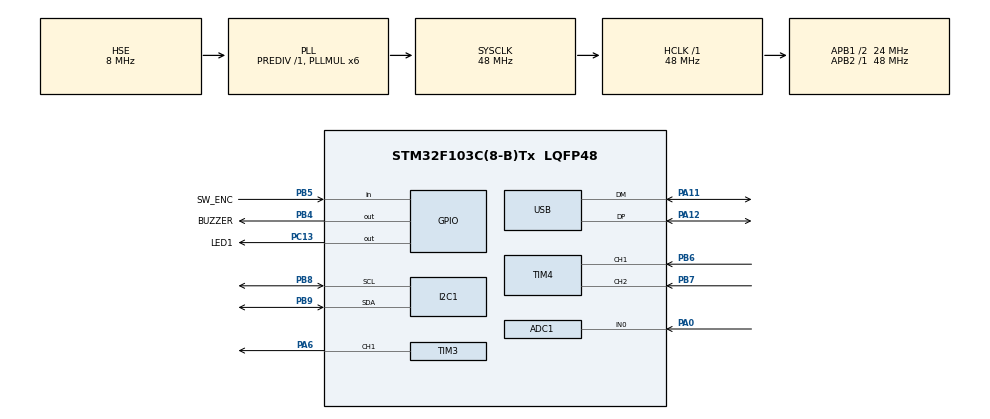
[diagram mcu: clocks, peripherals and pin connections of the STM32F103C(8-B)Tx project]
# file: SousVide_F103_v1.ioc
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ADC1.Channel-0\#ChannelRegularConversion=ADC_CHANNEL_0
ADC1.ContinuousConvMode=ENABLE
ADC1.NbrOfConversionFlag=1
ADC1.Rank-0\#ChannelRegularConversion=1
ADC1.SamplingTime-0\#ChannelRegularConversion=ADC_SAMPLETIME_1CYCLE_5
ADC1.master=1
I2C1.I2C_Mode=I2C_Fast
Mcu.Family=STM32F1
Mcu.Name=STM32F103C(8-B)Tx
Mcu.Package=LQFP48
NVIC.PriorityGroup=NVIC_PRIORITYGROUP_4
NVIC.TIM1_UP_IRQn=true\:0\:0\:false\:false\:true\:true\:true
NVIC.USB_LP_CAN1_RX0_IRQn=true\:0\:0\:false\:false\:true\:false\:true
PA0-WKUP.Signal=ADCx_IN0
PA11.Mode=Device
PA11.Signal=USB_DM
PA12.Mode=Device
PA12.Signal=USB_DP
PA13.Mode=Serial_Wire
PA13.Signal=SYS_JTMS-SWDIO
PA14.Mode=Serial_Wire
PA14.Signal=SYS_JTCK-SWCLK
PA6.Signal=S_TIM3_CH1
PB4.GPIO_Label=BUZZER
PB4.Signal=GPIO_Output
PB5.GPIO_Label=SW_ENC
PB5.Signal=GPIO_Input
PB6.Signal=S_TIM4_CH1
PB7.Signal=S_TIM4_CH2
PB8.Mode=I2C
PB8.Signal=I2C1_SCL
PB9.Mode=I2C
PB9.Signal=I2C1_SDA
PC13-TAMPER-RTC.GPIO_Label=LED1
PC13-TAMPER-RTC.Signal=GPIO_Output
PC14-OSC32_IN.Mode=LSE-External-Oscillator
PC14-OSC32_IN.Signal=RCC_OSC32_IN
PC15-OSC32_OUT.Mode=LSE-External-Oscillator
PC15-OSC32_OUT.Signal=RCC_OSC32_OUT
PD0-OSC_IN.Mode=HSE-External-Oscillator
PD0-OSC_IN.Signal=RCC_OSC_IN
PD1-OSC_OUT.Mode=HSE-External-Oscillator
PD1-OSC_OUT.Signal=RCC_OSC_OUT
ProjectManager.HeapSize=0x200
ProjectManager.StackSize=0x400
ProjectManager.TargetToolchain=MDK-ARM V5
RCC.ADCPresc=RCC_ADCPCLK2_DIV4
RCC.AHBFreq_Value=48000000
RCC.APB1CLKDivider=RCC_HCLK_DIV2
RCC.APB1Freq_Value=24000000
RCC.APB1TimFreq_Value=48000000
RCC.APB2Freq_Value=48000000
RCC.APB2TimFreq_Value=48000000
RCC.HCLKFreq_Value=48000000
RCC.PLLMUL=RCC_PLL_MUL6
RCC.SYSCLKFreq_VALUE=48000000
RCC.SYSCLKSource=RCC_SYSCLKSOURCE_PLLCLK
RCC.USBFreq_Value=48000000
SH.ADCx_IN0.0=ADC1_IN0,IN0
SH.S_TIM3_CH1.0=TIM3_CH1,PWM Generation1 CH1
SH.S_TIM4_CH1.0=TIM4_CH1,Encoder_Interface
SH.S_TIM4_CH2.0=TIM4_CH2,Encoder_Interface
TIM1.Period=10000-1
TIM1.Prescaler=4800-1
TIM2.Period=0xffff-1
TIM2.Prescaler=48-1
TIM3.Channel-PWM\ Generation1\ CH1=TIM_CHANNEL_1
TIM3.Period=100-1
TIM3.Prescaler=4800-1
TIM4.EncoderMode=TIM_ENCODERMODE_TI12
TIM4.IC1Filter=15
TIM4.IC2Filter=15
USB_DEVICE.CLASS_NAME_FS=CDC
USB_DEVICE.VirtualMode=Cdc
USB_DEVICE.VirtualModeFS=Cdc_FS
VP_TIM1_VS_ClockSourceINT.Mode=Internal
VP_TIM2_VS_ClockSourceINT.Mode=Internal
VP_USB_DEVICE_VS_USB_DEVICE_CDC_FS.Mode=CDC_FS
board=custom

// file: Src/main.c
/* USER CODE BEGIN Header */
/**
  ******************************************************************************
  * @file           : main.c
  * @brief          : Main program body
  ******************************************************************************
  * @attention
  *
  * <h2><center>&copy; Copyright (c) 2020 STMicroelectronics.
  * All rights reserved.</center></h2>
  *
  * This software component is licensed by ST under Ultimate Liberty license
  * SLA0044, the "License"; You may not use this file except in compliance with
  * the License. You may obtain a copy of the License at:
  *                             www.st.com/SLA0044
  *
  ******************************************************************************
  */
/* USER CODE END Header */
#include "main.h"
#include "usb_device.h"

/* USER CODE BEGIN Includes */

#include "fonts.h"
#include "ssd1306.h"
#include "test.h"
#include "string.h"
#include "stdio.h"
#include "stdlib.h"
#include "usbd_cdc_if.h"

/* USER CODE END Includes */

/* USER CODE BEGIN PD */

//#define USE_PID
//#define USE_FILTER

#ifdef USE_PID
#define Kp 1.0
#define Ki 1.0
#define Kd 1.0
#define SAMPLE_TIME 1
#endif

#define DS18B20_PORT GPIOA
#define DS18B20_PIN GPIO_PIN_1

//#define DEBUG

/* USER CODE END PD */

/* USER CODE BEGIN PM */

#define LED_ON HAL_GPIO_WritePin(LED1_GPIO_Port, LED1_Pin, GPIO_PIN_RESET)
#define LED_OFF HAL_GPIO_WritePin(LED1_GPIO_Port, LED1_Pin, GPIO_PIN_SET)

#define BEEP_ON HAL_GPIO_WritePin(BUZZER_GPIO_Port, BUZZER_Pin, GPIO_PIN_SET)
#define BEEP_OFF HAL_GPIO_WritePin(BUZZER_GPIO_Port, BUZZER_Pin, GPIO_PIN_RESET)

/* USER CODE END PM */

ADC_HandleTypeDef hadc1;

I2C_HandleTypeDef hi2c1;

TIM_HandleTypeDef htim1;
TIM_HandleTypeDef htim2;
TIM_HandleTypeDef htim3;
TIM_HandleTypeDef htim4;

/* USER CODE BEGIN PV */
int TEMPOOO;
int SECOND_TIMER;

int SECOND, MINUTE, HOUR;
int SET_SECOND, SET_MINUTE, SET_HOUR;
int TOTAL_SET_SECOND;
int TOTAL_SET_SECOND_COUNTDOWN;

unsigned int SETPOINT_TEMPERAURE;

float TEMPERATURE,
			LAST_TEMPERATURE,
			TEMPERATURE_RAW,
			FILTER_FACTOR = 5,
			Ts = 1.0f,
			TEMPERATURE_OFFSET = 0.2f;

float ERROR_MEASURED;
float PROPORTIONAL;
float INTEGRATOR;
float DERIVATIVE;
float PID;

int BLYNK_OLED;

int encoderCount, encoderDirection;
int SW_ALREADY_PRESSED;

char strbuffer[64];

int liga = 0;

/* USER CODE END PV */

void SystemClock_Config(void);
static void MX_GPIO_Init(void);
static void MX_ADC1_Init(void);
static void MX_TIM4_Init(void);
static void MX_I2C1_Init(void);
static void MX_TIM3_Init(void);
static void MX_TIM1_Init(void);
static void MX_TIM2_Init(void);
/* USER CODE BEGIN PFP */

float Temp_Read(void);
void heat_function(void);
void cook_function(void);
void delay_us (uint16_t us);
void Set_Pin_Output (GPIO_TypeDef *GPIOx, uint16_t GPIO_Pin);
void Set_Pin_Input (GPIO_TypeDef *GPIOx, uint16_t GPIO_Pin);
uint8_t DS18B20_Start (void);
void DS18B20_Write (uint8_t data);
uint8_t DS18B20_Read (void);
void beep(int delay);

extern uint8_t CDC_Transmit_FS(uint8_t* Buf, uint16_t Len);

/* USER CODE END PFP */

int main(void)
{

  /* MCU Configuration--------------------------------------------------------*/

  /* Reset of all peripherals, Initializes the Flash interface and the Systick. */
  HAL_Init();

  /* Configure the system clock */
  SystemClock_Config();

  /* Initialize all configured peripherals */
  MX_GPIO_Init();
  MX_ADC1_Init();
  MX_TIM4_Init();
  MX_USB_DEVICE_Init();
  MX_I2C1_Init();
  MX_TIM3_Init();
  MX_TIM1_Init();
  MX_TIM2_Init();
  /* USER CODE BEGIN 2 */

	HAL_Delay(1000);

	char strBuffer[] = "Ola\n\r";
	CDC_Transmit_FS((uint8_t*)strBuffer, strlen(strBuffer));

	SSD1306_Init();  // initialise
	SSD1306_Clear();

	beep(200);

	SSD1306_GotoXY (2,0);
  SSD1306_Puts("Sous", &Font_16x26, 1);
  SSD1306_GotoXY (60, 30);
  SSD1306_Puts("Vide", &Font_16x26, 1);
  SSD1306_UpdateScreen(); //display

	HAL_TIM_Encoder_Start(&htim4, TIM_CHANNEL_ALL);
	__HAL_TIM_SET_AUTORELOAD(&htim4, 4*2);

	HAL_TIM_PWM_Start(&htim3, TIM_CHANNEL_1);
	__HAL_TIM_SET_COMPARE(&htim3, TIM_CHANNEL_1, 0);

	LED_ON;
	HAL_Delay(2000);
	SSD1306_Clear();

	HAL_TIM_Base_Start(&htim2);

	LED_OFF;

  /* USER CODE END 2 */

  /* Infinite loop */
  /* USER CODE BEGIN WHILE */
  while (1)
  {
		encoderCount = __HAL_TIM_GET_COUNTER(&htim4) / 4;
		SSD1306_GotoXY (22,0);
		SSD1306_Puts("Aquecer", &Font_11x18, 1);
		SSD1306_GotoXY (22,30);
		SSD1306_Puts("Cozinhar", &Font_11x18, 1);

		char strBuffer[] = "Ola\n\r";
		CDC_Transmit_FS((uint8_t*)strBuffer, strlen(strBuffer));

		if(encoderCount == 1)
		{
			SSD1306_GotoXY (0,0);
			SSD1306_Puts("->", &Font_11x18, 1);
			SSD1306_GotoXY (0,30);
			SSD1306_Puts("  ", &Font_11x18, 1);
		}

		if(encoderCount == 0)
		{
			SSD1306_GotoXY (0,30);
			SSD1306_Puts("->", &Font_11x18, 1);
			SSD1306_GotoXY (0,0);
			SSD1306_Puts("  ", &Font_11x18, 1);
		}
		SSD1306_UpdateScreen();

		if((HAL_GPIO_ReadPin(SW_ENC_GPIO_Port, SW_ENC_Pin) == 1) && (SW_ALREADY_PRESSED == 1))
				SW_ALREADY_PRESSED = 0;

		if((HAL_GPIO_ReadPin(SW_ENC_GPIO_Port, SW_ENC_Pin) == 0) && (SW_ALREADY_PRESSED == 0))
			{
				HAL_Delay(100);
				if((HAL_GPIO_ReadPin(SW_ENC_GPIO_Port, SW_ENC_Pin) == 0) && (SW_ALREADY_PRESSED == 0))
				{
					SW_ALREADY_PRESSED = 1;
					beep(200);
					if(encoderCount == 1)
					{
						SSD1306_Clear();
						heat_function();
						__HAL_TIM_SET_COUNTER(&htim4, 0);
					}
					else
					{
						SSD1306_Clear();
						cook_function();
						__HAL_TIM_SET_COUNTER(&htim4, 0);
					}
				}
			}

    /* USER CODE END WHILE */

  }
}

void SystemClock_Config(void)
{
  RCC_OscInitTypeDef RCC_OscInitStruct = {0};
  RCC_ClkInitTypeDef RCC_ClkInitStruct = {0};
  RCC_PeriphCLKInitTypeDef PeriphClkInit = {0};

  /** Initializes the RCC Oscillators according to the specified parameters
  * in the RCC_OscInitTypeDef structure.
  */
  RCC_OscInitStruct.OscillatorType = RCC_OSCILLATORTYPE_HSE;
  RCC_OscInitStruct.HSEState = RCC_HSE_ON;
  RCC_OscInitStruct.HSEPredivValue = RCC_HSE_PREDIV_DIV1;
  RCC_OscInitStruct.HSIState = RCC_HSI_ON;
  RCC_OscInitStruct.PLL.PLLState = RCC_PLL_ON;
  RCC_OscInitStruct.PLL.PLLSource = RCC_PLLSOURCE_HSE;
  RCC_OscInitStruct.PLL.PLLMUL = RCC_PLL_MUL6;
  if (HAL_RCC_OscConfig(&RCC_OscInitStruct) != HAL_OK)
  {
    Error_Handler();
  }
  /** Initializes the CPU, AHB and APB buses clocks
  */
  RCC_ClkInitStruct.ClockType = RCC_CLOCKTYPE_HCLK|RCC_CLOCKTYPE_SYSCLK
                              |RCC_CLOCKTYPE_PCLK1|RCC_CLOCKTYPE_PCLK2;
  RCC_ClkInitStruct.SYSCLKSource = RCC_SYSCLKSOURCE_PLLCLK;
  RCC_ClkInitStruct.AHBCLKDivider = RCC_SYSCLK_DIV1;
  RCC_ClkInitStruct.APB1CLKDivider = RCC_HCLK_DIV2;
  RCC_ClkInitStruct.APB2CLKDivider = RCC_HCLK_DIV1;

  if (HAL_RCC_ClockConfig(&RCC_ClkInitStruct, FLASH_LATENCY_1) != HAL_OK)
  {
    Error_Handler();
  }
  PeriphClkInit.PeriphClockSelection = RCC_PERIPHCLK_ADC|RCC_PERIPHCLK_USB;
  PeriphClkInit.AdcClockSelection = RCC_ADCPCLK2_DIV4;
  PeriphClkInit.UsbClockSelection = RCC_USBCLKSOURCE_PLL;
  if (HAL_RCCEx_PeriphCLKConfig(&PeriphClkInit) != HAL_OK)
  {
    Error_Handler();
  }
}

static void MX_ADC1_Init(void)
{

  ADC_ChannelConfTypeDef sConfig = {0};

  /** Common config
  */
  hadc1.Instance = ADC1;
  hadc1.Init.ScanConvMode = ADC_SCAN_DISABLE;
  hadc1.Init.ContinuousConvMode = ENABLE;
  hadc1.Init.DiscontinuousConvMode = DISABLE;
  hadc1.Init.ExternalTrigConv = ADC_SOFTWARE_START;
  hadc1.Init.DataAlign = ADC_DATAALIGN_RIGHT;
  hadc1.Init.NbrOfConversion = 1;
  if (HAL_ADC_Init(&hadc1) != HAL_OK)
  {
    Error_Handler();
  }
  /** Configure Regular Channel
  */
  sConfig.Channel = ADC_CHANNEL_0;
  sConfig.Rank = ADC_REGULAR_RANK_1;
  sConfig.SamplingTime = ADC_SAMPLETIME_1CYCLE_5;
  if (HAL_ADC_ConfigChannel(&hadc1, &sConfig) != HAL_OK)
  {
    Error_Handler();
  }

}

static void MX_I2C1_Init(void)
{

  hi2c1.Instance = I2C1;
  hi2c1.Init.ClockSpeed = 400000;
  hi2c1.Init.DutyCycle = I2C_DUTYCYCLE_2;
  hi2c1.Init.OwnAddress1 = 0;
  hi2c1.Init.AddressingMode = I2C_ADDRESSINGMODE_7BIT;
  hi2c1.Init.DualAddressMode = I2C_DUALADDRESS_DISABLE;
  hi2c1.Init.OwnAddress2 = 0;
  hi2c1.Init.GeneralCallMode = I2C_GENERALCALL_DISABLE;
  hi2c1.Init.NoStretchMode = I2C_NOSTRETCH_DISABLE;
  if (HAL_I2C_Init(&hi2c1) != HAL_OK)
  {
    Error_Handler();
  }

}

static void MX_TIM1_Init(void)
{

  TIM_ClockConfigTypeDef sClockSourceConfig = {0};
  TIM_MasterConfigTypeDef sMasterConfig = {0};

  htim1.Instance = TIM1;
  htim1.Init.Prescaler = 4800-1;
  htim1.Init.CounterMode = TIM_COUNTERMODE_UP;
  htim1.Init.Period = 10000-1;
  htim1.Init.ClockDivision = TIM_CLOCKDIVISION_DIV1;
  htim1.Init.RepetitionCounter = 0;
  htim1.Init.AutoReloadPreload = TIM_AUTORELOAD_PRELOAD_DISABLE;
  if (HAL_TIM_Base_Init(&htim1) != HAL_OK)
  {
    Error_Handler();
  }
  sClockSourceConfig.ClockSource = TIM_CLOCKSOURCE_INTERNAL;
  if (HAL_TIM_ConfigClockSource(&htim1, &sClockSourceConfig) != HAL_OK)
  {
    Error_Handler();
  }
  sMasterConfig.MasterOutputTrigger = TIM_TRGO_RESET;
  sMasterConfig.MasterSlaveMode = TIM_MASTERSLAVEMODE_DISABLE;
  if (HAL_TIMEx_MasterConfigSynchronization(&htim1, &sMasterConfig) != HAL_OK)
  {
    Error_Handler();
  }

}

static void MX_TIM2_Init(void)
{

  TIM_ClockConfigTypeDef sClockSourceConfig = {0};
  TIM_MasterConfigTypeDef sMasterConfig = {0};

  htim2.Instance = TIM2;
  htim2.Init.Prescaler = 48-1;
  htim2.Init.CounterMode = TIM_COUNTERMODE_UP;
  htim2.Init.Period = 0xffff-1;
  htim2.Init.ClockDivision = TIM_CLOCKDIVISION_DIV1;
  htim2.Init.AutoReloadPreload = TIM_AUTORELOAD_PRELOAD_DISABLE;
  if (HAL_TIM_Base_Init(&htim2) != HAL_OK)
  {
    Error_Handler();
  }
  sClockSourceConfig.ClockSource = TIM_CLOCKSOURCE_INTERNAL;
  if (HAL_TIM_ConfigClockSource(&htim2, &sClockSourceConfig) != HAL_OK)
  {
    Error_Handler();
  }
  sMasterConfig.MasterOutputTrigger = TIM_TRGO_RESET;
  sMasterConfig.MasterSlaveMode = TIM_MASTERSLAVEMODE_DISABLE;
  if (HAL_TIMEx_MasterConfigSynchronization(&htim2, &sMasterConfig) != HAL_OK)
  {
    Error_Handler();
  }

}

static void MX_TIM3_Init(void)
{

  TIM_MasterConfigTypeDef sMasterConfig = {0};
  TIM_OC_InitTypeDef sConfigOC = {0};

  htim3.Instance = TIM3;
  htim3.Init.Prescaler = 4800-1;
  htim3.Init.CounterMode = TIM_COUNTERMODE_UP;
  htim3.Init.Period = 100-1;
  htim3.Init.ClockDivision = TIM_CLOCKDIVISION_DIV1;
  htim3.Init.AutoReloadPreload = TIM_AUTORELOAD_PRELOAD_DISABLE;
  if (HAL_TIM_PWM_Init(&htim3) != HAL_OK)
  {
    Error_Handler();
  }
  sMasterConfig.MasterOutputTrigger = TIM_TRGO_RESET;
  sMasterConfig.MasterSlaveMode = TIM_MASTERSLAVEMODE_DISABLE;
  if (HAL_TIMEx_MasterConfigSynchronization(&htim3, &sMasterConfig) != HAL_OK)
  {
    Error_Handler();
  }
  sConfigOC.OCMode = TIM_OCMODE_PWM1;
  sConfigOC.Pulse = 0;
  sConfigOC.OCPolarity = TIM_OCPOLARITY_HIGH;
  sConfigOC.OCFastMode = TIM_OCFAST_DISABLE;
  if (HAL_TIM_PWM_ConfigChannel(&htim3, &sConfigOC, TIM_CHANNEL_1) != HAL_OK)
  {
    Error_Handler();
  }
  HAL_TIM_MspPostInit(&htim3);

}

static void MX_TIM4_Init(void)
{

  TIM_Encoder_InitTypeDef sConfig = {0};
  TIM_MasterConfigTypeDef sMasterConfig = {0};

  htim4.Instance = TIM4;
  htim4.Init.Prescaler = 0;
  htim4.Init.CounterMode = TIM_COUNTERMODE_UP;
  htim4.Init.Period = 65535;
  htim4.Init.ClockDivision = TIM_CLOCKDIVISION_DIV1;
  htim4.Init.AutoReloadPreload = TIM_AUTORELOAD_PRELOAD_DISABLE;
  sConfig.EncoderMode = TIM_ENCODERMODE_TI12;
  sConfig.IC1Polarity = TIM_ICPOLARITY_RISING;
  sConfig.IC1Selection = TIM_ICSELECTION_DIRECTTI;
  sConfig.IC1Prescaler = TIM_ICPSC_DIV1;
  sConfig.IC1Filter = 15;
  sConfig.IC2Polarity = TIM_ICPOLARITY_RISING;
  sConfig.IC2Selection = TIM_ICSELECTION_DIRECTTI;
  sConfig.IC2Prescaler = TIM_ICPSC_DIV1;
  sConfig.IC2Filter = 15;
  if (HAL_TIM_Encoder_Init(&htim4, &sConfig) != HAL_OK)
  {
    Error_Handler();
  }
  sMasterConfig.MasterOutputTrigger = TIM_TRGO_RESET;
  sMasterConfig.MasterSlaveMode = TIM_MASTERSLAVEMODE_DISABLE;
  if (HAL_TIMEx_MasterConfigSynchronization(&htim4, &sMasterConfig) != HAL_OK)
  {
    Error_Handler();
  }

}

static void MX_GPIO_Init(void)
{
  GPIO_InitTypeDef GPIO_InitStruct = {0};

  /* GPIO Ports Clock Enable */
  __HAL_RCC_GPIOC_CLK_ENABLE();
  __HAL_RCC_GPIOD_CLK_ENABLE();
  __HAL_RCC_GPIOA_CLK_ENABLE();
  __HAL_RCC_GPIOB_CLK_ENABLE();

  /*Configure GPIO pin Output Level */
  HAL_GPIO_WritePin(LED1_GPIO_Port, LED1_Pin, GPIO_PIN_RESET);

  /*Configure GPIO pin Output Level */
  HAL_GPIO_WritePin(BUZZER_GPIO_Port, BUZZER_Pin, GPIO_PIN_RESET);

  /*Configure GPIO pin : LED1_Pin */
  GPIO_InitStruct.Pin = LED1_Pin;
  GPIO_InitStruct.Mode = GPIO_MODE_OUTPUT_PP;
  GPIO_InitStruct.Pull = GPIO_NOPULL;
  GPIO_InitStruct.Speed = GPIO_SPEED_FREQ_LOW;
  HAL_GPIO_Init(LED1_GPIO_Port, &GPIO_InitStruct);

  /*Configure GPIO pin : BUZZER_Pin */
  GPIO_InitStruct.Pin = BUZZER_Pin;
  GPIO_InitStruct.Mode = GPIO_MODE_OUTPUT_PP;
  GPIO_InitStruct.Pull = GPIO_NOPULL;
  GPIO_InitStruct.Speed = GPIO_SPEED_FREQ_LOW;
  HAL_GPIO_Init(BUZZER_GPIO_Port, &GPIO_InitStruct);

  /*Configure GPIO pin : SW_ENC_Pin */
  GPIO_InitStruct.Pin = SW_ENC_Pin;
  GPIO_InitStruct.Mode = GPIO_MODE_INPUT;
  GPIO_InitStruct.Pull = GPIO_NOPULL;
  HAL_GPIO_Init(SW_ENC_GPIO_Port, &GPIO_InitStruct);

}

/* USER CODE BEGIN 4 */

void heat_function(void)
{
	int STAGE = 0;

	sprintf(strbuffer, "Selecione a");
	SSD1306_GotoXY(2, 0);
	SSD1306_Puts(strbuffer, &Font_11x18, 1);

	sprintf(strbuffer, "Temperatura");
	SSD1306_GotoXY(2, 20);
	SSD1306_Puts(strbuffer, &Font_11x18, 1);

	__HAL_TIM_SET_COUNTER(&htim4, 0);
	__HAL_TIM_SET_AUTORELOAD(&htim4, (4 * 100)-1);
  while(STAGE == 0)
	{
		encoderCount = __HAL_TIM_GET_COUNTER(&htim4)/4;
		sprintf(strbuffer, "%02i C",encoderCount);
		SSD1306_GotoXY(40, 42);
		SSD1306_Puts(strbuffer, &Font_11x18, 0);
		SSD1306_UpdateScreen();

		if((HAL_GPIO_ReadPin(SW_ENC_GPIO_Port, SW_ENC_Pin) == 1) && (SW_ALREADY_PRESSED == 1))
			SW_ALREADY_PRESSED = 0;

		if((HAL_GPIO_ReadPin(SW_ENC_GPIO_Port, SW_ENC_Pin) == 0) && (SW_ALREADY_PRESSED == 0))
		{
			HAL_Delay(100);
			if((HAL_GPIO_ReadPin(SW_ENC_GPIO_Port, SW_ENC_Pin) == 0) && (SW_ALREADY_PRESSED == 0))
			{
				SW_ALREADY_PRESSED = 1;
				beep(200);
				STAGE++;
				SETPOINT_TEMPERAURE = encoderCount;
				SSD1306_Clear();
			}
		}
	}

	while(STAGE == 1)
	{
		int t_in = HAL_GetTick();

		#ifdef USE_FILTER
		TEMPERATURE_RAW = Temp_Read();
		TEMPERATURE =  ((FILTER_FACTOR * Ts * TEMPERATURE_RAW) + (LAST_TEMPERATURE)) /( 1 + (FILTER_FACTOR * Ts));
    LAST_TEMPERATURE = TEMPERATURE;

		#else
		TEMPERATURE = Temp_Read();

		#endif

		#ifdef USE_PID
    ERROR_MEASURED = SETPOINT_TEMPERAURE - TEMPERATURE;

    PROPORTIONAL = Kp * ERROR_MEASURED;
    INTEGRATOR += (Ki * ERROR_MEASURED) * SAMPLE_TIME;
    DERIVATIVE = ((TEMPERATURE - LAST_TEMPERATURE) * Kd) / SAMPLE_TIME;

		if(INTEGRATOR > 1000)
			INTEGRATOR = 1000;

		if(INTEGRATOR < 0)
			INTEGRATOR = 0;

    PID = PROPORTIONAL + INTEGRATOR - DERIVATIVE;

		__HAL_TIM_SET_COMPARE(&htim3, TIM_CHANNEL_1, PID);

		LAST_TEMPERATURE = TEMPERATURE;

		#else
		if(TEMPERATURE > SETPOINT_TEMPERAURE + TEMPERATURE_OFFSET)
		{
			liga = 0;
			beep(200);
			LED_OFF;
			__HAL_TIM_SET_COMPARE(&htim3, TIM_CHANNEL_1, 0);
		}

		if(TEMPERATURE < SETPOINT_TEMPERAURE - TEMPERATURE_OFFSET)
		{
			liga = 1;
			LED_ON;
			__HAL_TIM_SET_COMPARE(&htim3, TIM_CHANNEL_1, 100);
		}
		#endif

		HAL_Delay(156);//necessario para dar 1hz no ciclo

		BLYNK_OLED = !BLYNK_OLED;
		SSD1306_GotoXY(12, 0);
		SSD1306_Puts("Aquecendo", &Font_11x18, BLYNK_OLED);

		SSD1306_GotoXY(10, 35);
		SSD1306_Puts("Atual", &Font_7x10, 1);
		sprintf(strbuffer, "%.1fC ", TEMPERATURE);
		SSD1306_GotoXY(2, 45);
		SSD1306_Puts(strbuffer, &Font_11x18, 1);

		SSD1306_GotoXY(80, 35);
		SSD1306_Puts("Alvo", &Font_7x10, 1);
		sprintf(strbuffer, "%02iC", SETPOINT_TEMPERAURE);
		SSD1306_GotoXY(80, 45);
		SSD1306_Puts(strbuffer, &Font_11x18, 1);

		SSD1306_UpdateScreen();

		#ifdef DEBUG
		sprintf(strbuffer, "Temperatura atual %.1fC\n\r", TEMPERATURE);
		CDC_Transmit_FS((uint8_t*)strbuffer, strlen(strbuffer));
		sprintf(strbuffer, "Temperatura Alvo %iC\n\r", SETPOINT_TEMPERAURE);
		CDC_Transmit_FS((uint8_t*)strbuffer, strlen(strbuffer));
		#endif

		if((HAL_GPIO_ReadPin(SW_ENC_GPIO_Port, SW_ENC_Pin) == 1) && (SW_ALREADY_PRESSED == 1))
			SW_ALREADY_PRESSED = 0;

		if((HAL_GPIO_ReadPin(SW_ENC_GPIO_Port, SW_ENC_Pin) == 0) && (SW_ALREADY_PRESSED == 0))
		{
			HAL_Delay(1000);
			if((HAL_GPIO_ReadPin(SW_ENC_GPIO_Port, SW_ENC_Pin) == 0) && (SW_ALREADY_PRESSED == 0))
			{
				SW_ALREADY_PRESSED = 1;
				beep(200);
				__HAL_TIM_SET_COMPARE(&htim3, TIM_CHANNEL_1, 0);
				liga = 0;
				LED_OFF;
				SSD1306_Clear();
				return;
			}
		}
		int t_end = HAL_GetTick();
		TEMPOOO = t_end - t_in;
	}
}

void cook_function()
{
	int STAGE = 0;

	sprintf(strbuffer, "Selecione a");
	SSD1306_GotoXY(2, 0);
	SSD1306_Puts(strbuffer, &Font_11x18, 1);

	sprintf(strbuffer, "Temperatura");
	SSD1306_GotoXY(2, 20);
	SSD1306_Puts(strbuffer, &Font_11x18, 1);

	__HAL_TIM_SET_COUNTER(&htim4, 0);
	__HAL_TIM_SET_AUTORELOAD(&htim4, (4 * 100)-1);
  while(STAGE == 0)
	{
		encoderCount = __HAL_TIM_GET_COUNTER(&htim4)/4;
		sprintf(strbuffer, "%02i C",encoderCount);
		SSD1306_GotoXY(40, 42);
		SSD1306_Puts(strbuffer, &Font_11x18, 0);
		SSD1306_UpdateScreen();

		if((HAL_GPIO_ReadPin(SW_ENC_GPIO_Port, SW_ENC_Pin) == 1) && (SW_ALREADY_PRESSED == 1))
			SW_ALREADY_PRESSED = 0;

		if((HAL_GPIO_ReadPin(SW_ENC_GPIO_Port, SW_ENC_Pin) == 0) && (SW_ALREADY_PRESSED == 0))
		{
			HAL_Delay(100);
			if((HAL_GPIO_ReadPin(SW_ENC_GPIO_Port, SW_ENC_Pin) == 0) && (SW_ALREADY_PRESSED == 0))
			{
				SW_ALREADY_PRESSED = 1;
				beep(200);
				STAGE++;
				SETPOINT_TEMPERAURE = encoderCount;
			}
		}
	}
	SSD1306_Clear();
	sprintf(strbuffer, "Selecione o");
	SSD1306_GotoXY(2, 0);
	SSD1306_Puts(strbuffer, &Font_11x18, 1);

	sprintf(strbuffer, "Tempo       ");
	SSD1306_GotoXY(2, 20);
	SSD1306_Puts(strbuffer, &Font_11x18, 1);

	__HAL_TIM_SET_COUNTER(&htim4, 0);
	__HAL_TIM_SET_AUTORELOAD(&htim4, (4 * 100)-1);
  while(STAGE == 1)
	{
		encoderCount = __HAL_TIM_GET_COUNTER(&htim4)/4;
		sprintf(strbuffer, "%02ih",encoderCount);
		SSD1306_GotoXY(2, 40);
		SSD1306_Puts(strbuffer, &Font_11x18, 0);

		sprintf(strbuffer, ":00m:00s");
		SSD1306_Puts(strbuffer, &Font_11x18, 1);

		SSD1306_UpdateScreen();

		if((HAL_GPIO_ReadPin(SW_ENC_GPIO_Port, SW_ENC_Pin) == 1) && (SW_ALREADY_PRESSED == 1))
			SW_ALREADY_PRESSED = 0;

		if((HAL_GPIO_ReadPin(SW_ENC_GPIO_Port, SW_ENC_Pin) == 0) && (SW_ALREADY_PRESSED == 0))
		{
			HAL_Delay(100);
			if((HAL_GPIO_ReadPin(SW_ENC_GPIO_Port, SW_ENC_Pin) == 0) && (SW_ALREADY_PRESSED == 0))
			{
				SW_ALREADY_PRESSED = 1;
				beep(200);
				STAGE++;
				SET_HOUR = encoderCount;
			}
		}
	}

	__HAL_TIM_SET_COUNTER(&htim4, 0);
	__HAL_TIM_SET_AUTORELOAD(&htim4, 4 * 60);
  while(STAGE == 2)
	{
		encoderCount = __HAL_TIM_GET_COUNTER(&htim4)/4;
		sprintf(strbuffer, "%02ih:", SET_HOUR);
		SSD1306_GotoXY(2, 40);
		SSD1306_Puts(strbuffer, &Font_11x18, 1);

		sprintf(strbuffer, "%02im", encoderCount);
		SSD1306_Puts(strbuffer, &Font_11x18, 0);

		sprintf(strbuffer, ":00s");
		SSD1306_Puts(strbuffer, &Font_11x18, 1);

		SSD1306_UpdateScreen();

		if((HAL_GPIO_ReadPin(SW_ENC_GPIO_Port, SW_ENC_Pin) == 1) && (SW_ALREADY_PRESSED == 1))
			SW_ALREADY_PRESSED = 0;

		if((HAL_GPIO_ReadPin(SW_ENC_GPIO_Port, SW_ENC_Pin) == 0) && (SW_ALREADY_PRESSED == 0))
		{
			HAL_Delay(100);
			if((HAL_GPIO_ReadPin(SW_ENC_GPIO_Port, SW_ENC_Pin) == 0) && (SW_ALREADY_PRESSED == 0))
			{
				SW_ALREADY_PRESSED = 1;
				beep(200);
				STAGE++;
				SET_MINUTE = encoderCount;
			}
		}
	}

	__HAL_TIM_SET_COUNTER(&htim4, 0);
	__HAL_TIM_SET_AUTORELOAD(&htim4, 4 * 60);
  while(STAGE == 3)
	{
		encoderCount = __HAL_TIM_GET_COUNTER(&htim4)/4;
		sprintf(strbuffer, "%02ih:", SET_HOUR);
		SSD1306_GotoXY(2, 40);
		SSD1306_Puts(strbuffer, &Font_11x18, 1);

		sprintf(strbuffer, "%02im:", SET_MINUTE);
		SSD1306_Puts(strbuffer, &Font_11x18, 1);

		sprintf(strbuffer, "%02is",encoderCount);
		SSD1306_Puts(strbuffer, &Font_11x18, 0);
		SSD1306_UpdateScreen();

		if((HAL_GPIO_ReadPin(SW_ENC_GPIO_Port, SW_ENC_Pin) == 1) && (SW_ALREADY_PRESSED == 1))
			SW_ALREADY_PRESSED = 0;

		if((HAL_GPIO_ReadPin(SW_ENC_GPIO_Port, SW_ENC_Pin) == 0) && (SW_ALREADY_PRESSED == 0))
		{
			HAL_Delay(100);
			if((HAL_GPIO_ReadPin(SW_ENC_GPIO_Port, SW_ENC_Pin) == 0) && (SW_ALREADY_PRESSED == 0))
			{
				SW_ALREADY_PRESSED = 1;
				beep(200);
				STAGE++;
				SET_SECOND = encoderCount;
			}
		}
	}

	SSD1306_Clear();
	HOUR = SET_HOUR; MINUTE = SET_MINUTE; SECOND = SET_SECOND;
	TOTAL_SET_SECOND = (SET_HOUR * 3600) + (SET_MINUTE * 60) + SET_SECOND;
	TOTAL_SET_SECOND_COUNTDOWN = TOTAL_SET_SECOND;
	SECOND_TIMER = 0;
	HAL_TIM_Base_Start_IT(&htim1);

	while((STAGE == 4) && (TOTAL_SET_SECOND > SECOND_TIMER))
	{
		int t_in = HAL_GetTick();

		#ifdef USE_FILTER
		TEMPERATURE_RAW = Temp_Read();
		TEMPERATURE =  ((FILTER_FACTOR * Ts * TEMPERATURE_RAW) + (LAST_TEMPERATURE)) /( 1 + (FILTER_FACTOR * Ts));
    LAST_TEMPERATURE = TEMPERATURE;

		#else
		TEMPERATURE = Temp_Read();

		#endif

		#ifdef USE_PID
    ERROR_MEASURED = SETPOINT_TEMPERAURE - TEMPERATURE;

    PROPORTIONAL = Kp * ERROR_MEASURED;
    INTEGRATOR += (Ki * ERROR_MEASURED) * SAMPLE_TIME;
    DERIVATIVE = ((TEMPERATURE - LAST_TEMPERATURE) * Kd) / SAMPLE_TIME;

		if(INTEGRATOR > 1000)
			INTEGRATOR = 1000;

		if(INTEGRATOR < 0)
			INTEGRATOR = 0;

    PID = PROPORTIONAL + INTEGRATOR - DERIVATIVE;

		__HAL_TIM_SET_COMPARE(&htim3, TIM_CHANNEL_1, PID);

		LAST_TEMPERATURE = TEMPERATURE;
		#else
		if(TEMPERATURE > SETPOINT_TEMPERAURE + TEMPERATURE_OFFSET)
		{
			liga = 0;
			LED_OFF;
			__HAL_TIM_SET_COMPARE(&htim3, TIM_CHANNEL_1, 0);
		}

		if(TEMPERATURE < SETPOINT_TEMPERAURE - TEMPERATURE_OFFSET)
		{
			liga = 1;
			LED_ON;
			__HAL_TIM_SET_COMPARE(&htim3, TIM_CHANNEL_1, 100);
		}
		#endif

		HAL_Delay(153);//necessario para dar 1hz no ciclo

		HOUR = TOTAL_SET_SECOND_COUNTDOWN / 3600;
		MINUTE = (TOTAL_SET_SECOND_COUNTDOWN % 3600) / 60;
		SECOND = (TOTAL_SET_SECOND_COUNTDOWN % 3600) % 60;

		BLYNK_OLED = !BLYNK_OLED;
		SSD1306_GotoXY(10, 0);
		SSD1306_Puts("Tempo faltante", &Font_7x10, BLYNK_OLED);
		sprintf(strbuffer, "%02ih:%02im:%02is", HOUR, MINUTE, SECOND);
		SSD1306_GotoXY(4, 11);
		SSD1306_Puts(strbuffer, &Font_11x18, 1);

		SSD1306_GotoXY(10, 35);
		SSD1306_Puts("Atual", &Font_7x10, 1);
		sprintf(strbuffer, "%.1fC ", TEMPERATURE);
		SSD1306_GotoXY(2, 45);
		SSD1306_Puts(strbuffer, &Font_11x18, 1);

		SSD1306_GotoXY(80, 35);
		SSD1306_Puts("Alvo", &Font_7x10, 1);
		sprintf(strbuffer, "%02iC", SETPOINT_TEMPERAURE);
		SSD1306_GotoXY(80, 45);
		SSD1306_Puts(strbuffer, &Font_11x18, 1);

		SSD1306_UpdateScreen();

		#ifdef DEBUG
		sprintf(strbuffer, "\nTempo faltante %02ih:%02im:%02is\n", HOUR, MINUTE, SECOND);
		CDC_Transmit_FS((uint8_t*)strbuffer, strlen(strbuffer));
		sprintf(strbuffer, "Temperatura atual %.1fC\n", TEMPERATURE);
		CDC_Transmit_FS((uint8_t*)strbuffer, strlen(strbuffer));
		sprintf(strbuffer, "Temperatura alvo %iC\n", SETPOINT_TEMPERAURE);
		CDC_Transmit_FS((uint8_t*)strbuffer, strlen(strbuffer));
		#endif

		if((HAL_GPIO_ReadPin(SW_ENC_GPIO_Port, SW_ENC_Pin) == 1) && (SW_ALREADY_PRESSED == 1))
			SW_ALREADY_PRESSED = 0;

		if((HAL_GPIO_ReadPin(SW_ENC_GPIO_Port, SW_ENC_Pin) == 0) && (SW_ALREADY_PRESSED == 0))
		{
			HAL_Delay(3000);
			if((HAL_GPIO_ReadPin(SW_ENC_GPIO_Port, SW_ENC_Pin) == 0) && (SW_ALREADY_PRESSED == 0))
			{
				SW_ALREADY_PRESSED = 1;
				beep(200);
				__HAL_TIM_SET_COMPARE(&htim3, TIM_CHANNEL_1, 0);
				SSD1306_Clear();
				HAL_TIM_Base_Stop_IT(&htim1);
				__HAL_TIM_SET_COUNTER(&htim1, 0);
				liga = 0;
				LED_OFF;
				for(int k = 0; k < 3; k++)
				{
					BEEP_ON;
					LED_ON;
					HAL_Delay(200);
					BEEP_OFF;
					LED_OFF;
					HAL_Delay(100);
				}
				return;
			}
		}
		int t_end = HAL_GetTick();
		TEMPOOO = t_end - t_in;
	}
	HAL_TIM_Base_Stop_IT(&htim1);
	liga = 0;
	__HAL_TIM_SET_COMPARE(&htim3, TIM_CHANNEL_1, 0);
	HAL_Delay(1000);
	SSD1306_Clear();
	STAGE = 5;

	for(int k = 0; k < 3; k++)
	{
		BEEP_ON;
		LED_ON;
		HAL_Delay(200);

		BEEP_OFF;
		LED_OFF;
		HAL_Delay(100);
	}

	while(STAGE == 5)
	{
		SSD1306_GotoXY(2, 0);
		SSD1306_Puts("Cozimento", &Font_11x18, 1);
		SSD1306_GotoXY(2, 35);
		SSD1306_Puts("Finalizado", &Font_11x18, 1);
		SSD1306_UpdateScreen();

		if((HAL_GPIO_ReadPin(SW_ENC_GPIO_Port, SW_ENC_Pin) == 1) && (SW_ALREADY_PRESSED == 1))
			SW_ALREADY_PRESSED = 0;

		if((HAL_GPIO_ReadPin(SW_ENC_GPIO_Port, SW_ENC_Pin) == 0) && (SW_ALREADY_PRESSED == 0))
		{
			HAL_Delay(100);
			if((HAL_GPIO_ReadPin(SW_ENC_GPIO_Port, SW_ENC_Pin) == 0) && (SW_ALREADY_PRESSED == 0))
			{
				SW_ALREADY_PRESSED = 1;
				beep(200);
				SSD1306_Clear();
				return;
			}
		}
	}
}

void beep(int delay)
{
	HAL_GPIO_WritePin(BUZZER_GPIO_Port, BUZZER_Pin, GPIO_PIN_SET);
	HAL_Delay(delay/2);
	HAL_GPIO_WritePin(BUZZER_GPIO_Port, BUZZER_Pin, GPIO_PIN_RESET);
	HAL_Delay(delay/2);
}
void HAL_TIM_PeriodElapsedCallback(TIM_HandleTypeDef *htim1)
{
	SECOND_TIMER++;
	TOTAL_SET_SECOND_COUNTDOWN--;
}

float Temp_Read(void)
{
	float Temperature = 0;
	int16_t Presence = 0;
	int16_t Temp_byte1, Temp_byte2;
	int16_t TEMP;

	Presence = DS18B20_Start();
	HAL_Delay(1);
	DS18B20_Write (0xCC);  // skip ROM
	DS18B20_Write (0x44);  // convert t
	HAL_Delay(800);

	Presence = DS18B20_Start();
  HAL_Delay(1);
  DS18B20_Write (0xCC);  // skip ROM
  DS18B20_Write (0xBE);  // Read Scratch-pad

  Temp_byte1 = DS18B20_Read();
	Temp_byte2 = DS18B20_Read();
	TEMP = (Temp_byte2<<8)|Temp_byte1;
	Temperature = (float)TEMP/16.0;

	return Temperature;
	/*
	float adcVal;
	HAL_ADC_Start(&hadc1);
	HAL_ADC_PollForConversion(&hadc1, 1);
	adcVal = HAL_ADC_GetValue(&hadc1);
	HAL_ADC_Stop(&hadc1);
	return adcVal;
	*/
}

void delay_us (uint16_t us)
{
	__HAL_TIM_SET_COUNTER(&htim2,0);  // set the counter value a 0
	while (__HAL_TIM_GET_COUNTER(&htim2) < us);  // wait for the counter to reach the us input in the parameter
}

void Set_Pin_Output (GPIO_TypeDef *GPIOx, uint16_t GPIO_Pin)
{
	GPIO_InitTypeDef GPIO_InitStruct = {0};
	GPIO_InitStruct.Pin = GPIO_Pin;
	GPIO_InitStruct.Mode = GPIO_MODE_OUTPUT_PP;
	GPIO_InitStruct.Speed = GPIO_SPEED_FREQ_LOW;
	HAL_GPIO_Init(GPIOx, &GPIO_InitStruct);
}

void Set_Pin_Input (GPIO_TypeDef *GPIOx, uint16_t GPIO_Pin)
{
	GPIO_InitTypeDef GPIO_InitStruct = {0};
	GPIO_InitStruct.Pin = GPIO_Pin;
	GPIO_InitStruct.Mode = GPIO_MODE_INPUT;
	GPIO_InitStruct.Pull = GPIO_PULLUP;
	HAL_GPIO_Init(GPIOx, &GPIO_InitStruct);
}

uint8_t DS18B20_Start (void)
{
	uint8_t Response = 0;
	Set_Pin_Output(DS18B20_PORT, DS18B20_PIN);   // set the pin as output
	HAL_GPIO_WritePin (DS18B20_PORT, DS18B20_PIN, GPIO_PIN_RESET);  // pull the pin low
	delay_us(480);   // delay according to datasheet

	Set_Pin_Input(DS18B20_PORT, DS18B20_PIN);    // set the pin as input
	delay_us(80);    // delay according to datasheet

	if (!(HAL_GPIO_ReadPin (DS18B20_PORT, DS18B20_PIN))) Response = 1;    // if the pin is low i.e the presence pulse is detected
	else Response = -1;

	delay_us(400); // 480 us delay totally.

	return Response;
}

void DS18B20_Write (uint8_t data)
{
	Set_Pin_Output(DS18B20_PORT, DS18B20_PIN);  // set as output

	for (int i=0; i<8; i++)
	{

		if ((data & (1<<i))!=0)  // if the bit is high
		{
			// write 1

			Set_Pin_Output(DS18B20_PORT, DS18B20_PIN);  // set as output
			HAL_GPIO_WritePin (DS18B20_PORT, DS18B20_PIN, GPIO_PIN_RESET);  // pull the pin LOW
			delay_us(1);  // wait for 1 us

			Set_Pin_Input(DS18B20_PORT, DS18B20_PIN);  // set as input
			delay_us(50);  // wait for 60 us
		}

		else  // if the bit is low
		{
			// write 0

			Set_Pin_Output(DS18B20_PORT, DS18B20_PIN);
			HAL_GPIO_WritePin (DS18B20_PORT, DS18B20_PIN, GPIO_PIN_RESET);  // pull the pin LOW
			delay_us(50);  // wait for 60 us

			Set_Pin_Input(DS18B20_PORT, DS18B20_PIN);
		}
	}
}

uint8_t DS18B20_Read (void)
{
	uint8_t value=0;

	Set_Pin_Input(DS18B20_PORT, DS18B20_PIN);

	for (int i=0;i<8;i++)
	{
		Set_Pin_Output(DS18B20_PORT, DS18B20_PIN);   // set as output

		HAL_GPIO_WritePin (DS18B20_PORT, DS18B20_PIN, GPIO_PIN_RESET);  // pull the data pin LOW
		delay_us(1);  // wait for > 1us

		Set_Pin_Input(DS18B20_PORT, DS18B20_PIN);  // set as input
		if (HAL_GPIO_ReadPin (DS18B20_PORT, DS18B20_PIN))  // if the pin is HIGH
		{
			value |= 1<<i;  // read = 1
		}
		delay_us(50);  // wait for 60 us
	}
	return value;
}

/* USER CODE END 4 */

void Error_Handler(void)
{
}

/************************ (C) COPYRIGHT STMicroelectronics *****END OF FILE****/
